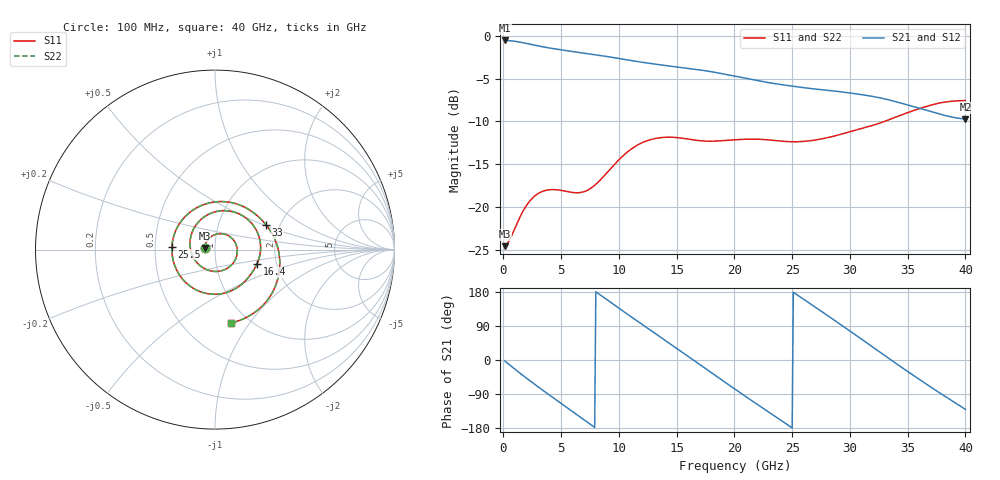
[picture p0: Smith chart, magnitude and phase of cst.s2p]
! D_s8_stitch_5p0: L1 (ref L2) → L8 (ref L7), one GND via at 5 mm
! stackup: 8-layer 1.6 mm FR-4 (generic)
! ports: 1, 2
! CST Studio Suite 2025.5 Release from 2025-05-30, time domain (FIT, hexahedral, PBA), 244296 mesh cells, 46 s
! mesh: {'lpw': 20, 'lpb': 20, 'minstep': 0.0, 'ratio': 20}; ports: port 1 (face); port 2 (face)
! interpolated from CST's 1001 samples to the case grid
# Hz S RI R 50
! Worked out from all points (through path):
!   400 points, 100 MHz to 40 GHz, reference 50 ohm
!   highest |S21| = -0.55 dB at 100 MHz (marker M1); lowest = -9.7 dB at 40 GHz (marker M2)
!   group delay of S21, straight-line fit = 58.7 ps
!   lowest |S11| = -24.6 dB at 100 MHz (marker M3), VSWR 1.13, Z = 44.5 + j0.759 ohm
!   |S11| at or under -10 dB: start of sweep to 33 GHz
!   |S22| runs from -24.6 to -7.6 dB; largest |S21 - S12| = 2.2e-07
!   S11 on the Smith chart (normalised r, x): 100 MHz: 0.89, +0.02; 16.4 GHz: 1.58, -0.27; 25.5 GHz: 0.61, +0.02; 33 GHz: 1.70, +0.52; 40 GHz: 0.83, -0.82
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1e8  -0.0585 0.00851  0.9377 -0.0402  0.9377 -0.0402  -0.0585 0.00851
1.8e9  0.0414 0.0881  0.659 -0.6241  0.659 -0.6241  0.0414 0.0881
3.3e9  0.1221 0.0127  0.1876 -0.8439  0.1876 -0.8439  0.1221 0.0127
4.9e9  0.0795 -0.0969  -0.3189 -0.7654  -0.3189 -0.7654  0.0795 -0.0969
6.8e9  -0.0745 -0.0966  -0.7136 -0.3477  -0.7136 -0.3477  -0.0745 -0.0966
8.6e9  -0.1381 0.0562  -0.743 0.1727  -0.743 0.1727  -0.1381 0.0562
1.05e10  -0.0258 0.2015  -0.4268 0.5883  -0.4268 0.5883  -0.0257 0.2015
1.19e10  0.1108 0.208  -0.0763 0.6977  -0.0763 0.6977  0.1108 0.208
1.34e10  0.2184 0.1277  0.2919 0.6129  0.2919 0.6129  0.2184 0.1277
1.5e10  0.2543 0.00838  0.5651 0.3359  0.5651 0.3359  0.2543 0.00836
1.64e10  0.2333 -0.0809  0.6402 0.01  0.6402 0.01  0.2333 -0.0809
1.84e10  0.1698 -0.1734  0.4531 -0.4079  0.4531 -0.4079  0.1698 -0.1735
2.01e10  0.0813 -0.2333  0.1206 -0.5669  0.1206 -0.5669  0.0812 -0.2333
2.3e10  -0.1441 -0.1999  -0.3959 -0.3551  -0.3959 -0.3551  -0.1441 -0.1999
2.55e10  -0.24 0.0168  -0.4957 0.0827  -0.4957 0.0827  -0.24 0.0168
2.67e10  -0.2038 0.1351  -0.406 0.2759  -0.406 0.2759  -0.2038 0.1351
2.83e10  -0.0832 0.2423  -0.1829 0.442  -0.1829 0.442  -0.0832 0.2424
2.97e10  0.0474 0.2674  0.0582 0.4624  0.0582 0.4624  0.0475 0.2674
3.3e10  0.2845 0.1378  0.4186 0.0896  0.4186 0.0896  0.2846 0.1378
3.34e10  0.3037 0.1118  0.4209 0.0257  0.4209 0.0257  0.3037 0.1118
3.66e10  0.3496 -0.1641  0.1653 -0.3286  0.1653 -0.3286  0.3496 -0.1642
4e10  0.0884 -0.4094  -0.2099 -0.2489  -0.2099 -0.2489  0.0883 -0.4094
